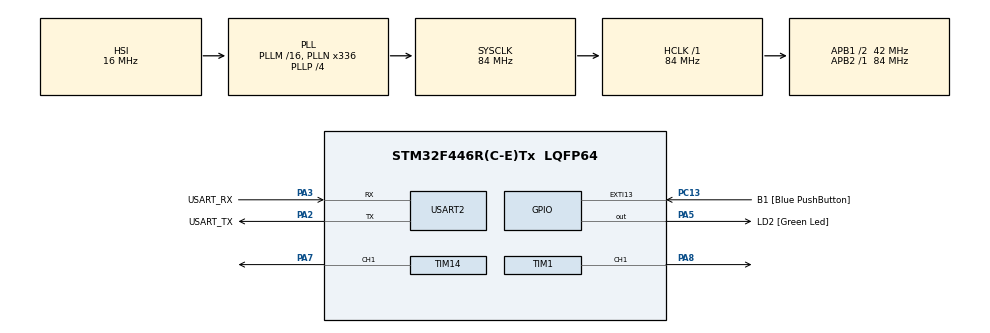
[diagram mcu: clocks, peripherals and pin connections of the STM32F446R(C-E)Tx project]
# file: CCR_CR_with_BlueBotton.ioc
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Mcu.Family=STM32F4
Mcu.Name=STM32F446R(C-E)Tx
Mcu.Package=LQFP64
NVIC.EXTI15_10_IRQn=true\:0\:0\:false\:false\:true\:true\:true\:true
NVIC.PriorityGroup=NVIC_PRIORITYGROUP_0
PA13.GPIO_Label=TMS
PA13.Mode=Serial_Wire
PA13.Signal=SYS_JTMS-SWDIO
PA14.GPIO_Label=TCK
PA14.Mode=Serial_Wire
PA14.Signal=SYS_JTCK-SWCLK
PA2.GPIO_Label=USART_TX
PA2.Mode=Asynchronous
PA2.Signal=USART2_TX
PA3.GPIO_Label=USART_RX
PA3.Mode=Asynchronous
PA3.Signal=USART2_RX
PA5.GPIO_Label=LD2 [Green Led]
PA5.Signal=GPIO_Output
PA7.Signal=S_TIM14_CH1
PA8.Signal=S_TIM1_CH1
PB3.GPIO_Label=SWO
PB3.Signal=SYS_JTDO-SWO
PC13.GPIO_Label=B1 [Blue PushButton]
PC13.GPIO_ModeDefaultEXTI=GPIO_MODE_IT_FALLING
PC13.Signal=GPXTI13
PC14-OSC32_IN.Mode=LSE-External-Oscillator
PC14-OSC32_IN.Signal=RCC_OSC32_IN
PC15-OSC32_OUT.Mode=LSE-External-Oscillator
PC15-OSC32_OUT.Signal=RCC_OSC32_OUT
PH0-OSC_IN.Mode=HSE-External-Oscillator
PH0-OSC_IN.Signal=RCC_OSC_IN
PH1-OSC_OUT.Mode=HSE-External-Oscillator
PH1-OSC_OUT.Signal=RCC_OSC_OUT
ProjectManager.HeapSize=0x200
ProjectManager.StackSize=0x400
ProjectManager.TargetToolchain=STM32CubeIDE
RCC.48MHZClocksFreq_Value=84000000
RCC.AHBFreq_Value=84000000
RCC.APB1CLKDivider=RCC_HCLK_DIV2
RCC.APB1Freq_Value=42000000
RCC.APB1TimFreq_Value=84000000
RCC.APB2Freq_Value=84000000
RCC.APB2TimFreq_Value=84000000
RCC.CortexFreq_Value=84000000
RCC.FLatency-AdvancedSettings=FLASH_LATENCY_2
RCC.HCLKFreq_Value=84000000
RCC.HSE_VALUE=8000000
RCC.HSI_VALUE=16000000
RCC.PLLN=336
RCC.PLLP=RCC_PLLP_DIV4
RCC.SYSCLKFreq_VALUE=84000000
RCC.SYSCLKSource=RCC_SYSCLKSOURCE_PLLCLK
RCC.USBFreq_Value=168000000
RCC.VCOOutputFreq_Value=336000000
SH.S_TIM14_CH1.0=TIM14_CH1,PWM Generation1 CH1
SH.S_TIM1_CH1.0=TIM1_CH1,PWM Generation1 CH1
TIM1.Channel-PWM\ Generation1\ CH1=TIM_CHANNEL_1
TIM1.Period=1000
TIM1.Prescaler=84-1
TIM1.Pulse-PWM\ Generation1\ CH1=200
TIM14.Channel=TIM_CHANNEL_1
TIM14.Period=1000
TIM14.Prescaler=84-1
TIM14.Pulse=200
USART2.VirtualMode=VM_ASYNC
VP_TIM14_VS_ClockSourceINT.Mode=Enable_Timer
VP_TIM1_VS_ClockSourceINT.Mode=Internal
board=NUCLEO-F446RE

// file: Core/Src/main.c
/* USER CODE BEGIN Header */
/**
  ******************************************************************************
  * @file           : main.c
  * @brief          : Main program body
  ******************************************************************************
  * @attention
  *
  * Copyright (c) 2023 STMicroelectronics.
  * All rights reserved.
  *
  * This software is licensed under terms that can be found in the LICENSE file
  * in the root directory of this software component.
  * If no LICENSE file comes with this software, it is provided AS-IS.
  *
  ******************************************************************************
  */
/* USER CODE END Header */
#include "main.h"

/* USER CODE BEGIN Includes */
#include <stdio.h>
/* USER CODE END Includes */

TIM_HandleTypeDef htim1;
TIM_HandleTypeDef htim14;

UART_HandleTypeDef huart2;

void SystemClock_Config(void);
static void MX_GPIO_Init(void);
static void MX_USART2_UART_Init(void);
static void MX_TIM14_Init(void);
static void MX_TIM1_Init(void);
/* USER CODE BEGIN PFP */
#define PUTCHAR_PROTOTYPE int __io_putchar(int ch)
/* USER CODE END PFP */

/* USER CODE BEGIN 0 */
int CCW = 0;
int inv = 0;
/* USER CODE END 0 */

int main(void)
{

  /* MCU Configuration--------------------------------------------------------*/

  /* Reset of all peripherals, Initializes the Flash interface and the Systick. */
  HAL_Init();

  /* Configure the system clock */
  SystemClock_Config();

  /* Initialize all configured peripherals */
  MX_GPIO_Init();
  MX_USART2_UART_Init();
  MX_TIM14_Init();
  MX_TIM1_Init();
  /* USER CODE BEGIN 2 */
  HAL_TIM_PWM_Start(&htim1, TIM_CHANNEL_1);
  HAL_TIM_PWM_Start(&htim14, TIM_CHANNEL_1);
  __HAL_TIM_SET_COMPARE(&htim1,TIM_CHANNEL_1,200);
  __HAL_TIM_SET_COMPARE(&htim14,TIM_CHANNEL_1,0);
  /* USER CODE END 2 */

  /* Infinite loop */
  /* USER CODE BEGIN WHILE */
  while (1)
  {
	  printf("Hello\n\r");
	  if(inv){
		  if(CCW){
			  __HAL_TIM_SET_COMPARE(&htim1,TIM_CHANNEL_1,0);
			  HAL_Delay(10);
			  __HAL_TIM_SET_COMPARE(&htim14,TIM_CHANNEL_1,200);
			  CCW = 0;
		  }else{
				__HAL_TIM_SET_COMPARE(&htim14,TIM_CHANNEL_1,0);
				HAL_Delay(10);
				__HAL_TIM_SET_COMPARE(&htim1,TIM_CHANNEL_1,200);
				CCW = 1;
		  }
		  inv = 0;
	  }

    /* USER CODE END WHILE */

  }
}

void SystemClock_Config(void)
{
  RCC_OscInitTypeDef RCC_OscInitStruct = {0};
  RCC_ClkInitTypeDef RCC_ClkInitStruct = {0};

  /** Configure the main internal regulator output voltage
  */
  __HAL_RCC_PWR_CLK_ENABLE();
  __HAL_PWR_VOLTAGESCALING_CONFIG(PWR_REGULATOR_VOLTAGE_SCALE3);

  /** Initializes the RCC Oscillators according to the specified parameters
  * in the RCC_OscInitTypeDef structure.
  */
  RCC_OscInitStruct.OscillatorType = RCC_OSCILLATORTYPE_HSI;
  RCC_OscInitStruct.HSIState = RCC_HSI_ON;
  RCC_OscInitStruct.HSICalibrationValue = RCC_HSICALIBRATION_DEFAULT;
  RCC_OscInitStruct.PLL.PLLState = RCC_PLL_ON;
  RCC_OscInitStruct.PLL.PLLSource = RCC_PLLSOURCE_HSI;
  RCC_OscInitStruct.PLL.PLLM = 16;
  RCC_OscInitStruct.PLL.PLLN = 336;
  RCC_OscInitStruct.PLL.PLLP = RCC_PLLP_DIV4;
  RCC_OscInitStruct.PLL.PLLQ = 2;
  RCC_OscInitStruct.PLL.PLLR = 2;
  if (HAL_RCC_OscConfig(&RCC_OscInitStruct) != HAL_OK)
  {
    Error_Handler();
  }

  /** Initializes the CPU, AHB and APB buses clocks
  */
  RCC_ClkInitStruct.ClockType = RCC_CLOCKTYPE_HCLK|RCC_CLOCKTYPE_SYSCLK
                              |RCC_CLOCKTYPE_PCLK1|RCC_CLOCKTYPE_PCLK2;
  RCC_ClkInitStruct.SYSCLKSource = RCC_SYSCLKSOURCE_PLLCLK;
  RCC_ClkInitStruct.AHBCLKDivider = RCC_SYSCLK_DIV1;
  RCC_ClkInitStruct.APB1CLKDivider = RCC_HCLK_DIV2;
  RCC_ClkInitStruct.APB2CLKDivider = RCC_HCLK_DIV1;

  if (HAL_RCC_ClockConfig(&RCC_ClkInitStruct, FLASH_LATENCY_2) != HAL_OK)
  {
    Error_Handler();
  }
}

static void MX_TIM1_Init(void)
{

  TIM_ClockConfigTypeDef sClockSourceConfig = {0};
  TIM_MasterConfigTypeDef sMasterConfig = {0};
  TIM_OC_InitTypeDef sConfigOC = {0};
  TIM_BreakDeadTimeConfigTypeDef sBreakDeadTimeConfig = {0};

  htim1.Instance = TIM1;
  htim1.Init.Prescaler = 84-1;
  htim1.Init.CounterMode = TIM_COUNTERMODE_UP;
  htim1.Init.Period = 1000;
  htim1.Init.ClockDivision = TIM_CLOCKDIVISION_DIV1;
  htim1.Init.RepetitionCounter = 0;
  htim1.Init.AutoReloadPreload = TIM_AUTORELOAD_PRELOAD_DISABLE;
  if (HAL_TIM_Base_Init(&htim1) != HAL_OK)
  {
    Error_Handler();
  }
  sClockSourceConfig.ClockSource = TIM_CLOCKSOURCE_INTERNAL;
  if (HAL_TIM_ConfigClockSource(&htim1, &sClockSourceConfig) != HAL_OK)
  {
    Error_Handler();
  }
  if (HAL_TIM_PWM_Init(&htim1) != HAL_OK)
  {
    Error_Handler();
  }
  sMasterConfig.MasterOutputTrigger = TIM_TRGO_RESET;
  sMasterConfig.MasterSlaveMode = TIM_MASTERSLAVEMODE_DISABLE;
  if (HAL_TIMEx_MasterConfigSynchronization(&htim1, &sMasterConfig) != HAL_OK)
  {
    Error_Handler();
  }
  sConfigOC.OCMode = TIM_OCMODE_PWM1;
  sConfigOC.Pulse = 200;
  sConfigOC.OCPolarity = TIM_OCPOLARITY_HIGH;
  sConfigOC.OCNPolarity = TIM_OCNPOLARITY_HIGH;
  sConfigOC.OCFastMode = TIM_OCFAST_DISABLE;
  sConfigOC.OCIdleState = TIM_OCIDLESTATE_RESET;
  sConfigOC.OCNIdleState = TIM_OCNIDLESTATE_RESET;
  if (HAL_TIM_PWM_ConfigChannel(&htim1, &sConfigOC, TIM_CHANNEL_1) != HAL_OK)
  {
    Error_Handler();
  }
  sBreakDeadTimeConfig.OffStateRunMode = TIM_OSSR_DISABLE;
  sBreakDeadTimeConfig.OffStateIDLEMode = TIM_OSSI_DISABLE;
  sBreakDeadTimeConfig.LockLevel = TIM_LOCKLEVEL_OFF;
  sBreakDeadTimeConfig.DeadTime = 0;
  sBreakDeadTimeConfig.BreakState = TIM_BREAK_DISABLE;
  sBreakDeadTimeConfig.BreakPolarity = TIM_BREAKPOLARITY_HIGH;
  sBreakDeadTimeConfig.AutomaticOutput = TIM_AUTOMATICOUTPUT_DISABLE;
  if (HAL_TIMEx_ConfigBreakDeadTime(&htim1, &sBreakDeadTimeConfig) != HAL_OK)
  {
    Error_Handler();
  }
  HAL_TIM_MspPostInit(&htim1);

}

static void MX_TIM14_Init(void)
{

  TIM_OC_InitTypeDef sConfigOC = {0};

  htim14.Instance = TIM14;
  htim14.Init.Prescaler = 84-1;
  htim14.Init.CounterMode = TIM_COUNTERMODE_UP;
  htim14.Init.Period = 1000;
  htim14.Init.ClockDivision = TIM_CLOCKDIVISION_DIV1;
  htim14.Init.AutoReloadPreload = TIM_AUTORELOAD_PRELOAD_DISABLE;
  if (HAL_TIM_Base_Init(&htim14) != HAL_OK)
  {
    Error_Handler();
  }
  if (HAL_TIM_PWM_Init(&htim14) != HAL_OK)
  {
    Error_Handler();
  }
  sConfigOC.OCMode = TIM_OCMODE_PWM1;
  sConfigOC.Pulse = 200;
  sConfigOC.OCPolarity = TIM_OCPOLARITY_HIGH;
  sConfigOC.OCFastMode = TIM_OCFAST_DISABLE;
  if (HAL_TIM_PWM_ConfigChannel(&htim14, &sConfigOC, TIM_CHANNEL_1) != HAL_OK)
  {
    Error_Handler();
  }
  HAL_TIM_MspPostInit(&htim14);

}

static void MX_USART2_UART_Init(void)
{

  huart2.Instance = USART2;
  huart2.Init.BaudRate = 115200;
  huart2.Init.WordLength = UART_WORDLENGTH_8B;
  huart2.Init.StopBits = UART_STOPBITS_1;
  huart2.Init.Parity = UART_PARITY_NONE;
  huart2.Init.Mode = UART_MODE_TX_RX;
  huart2.Init.HwFlowCtl = UART_HWCONTROL_NONE;
  huart2.Init.OverSampling = UART_OVERSAMPLING_16;
  if (HAL_UART_Init(&huart2) != HAL_OK)
  {
    Error_Handler();
  }

}

static void MX_GPIO_Init(void)
{
  GPIO_InitTypeDef GPIO_InitStruct = {0};

  /* GPIO Ports Clock Enable */
  __HAL_RCC_GPIOC_CLK_ENABLE();
  __HAL_RCC_GPIOH_CLK_ENABLE();
  __HAL_RCC_GPIOA_CLK_ENABLE();
  __HAL_RCC_GPIOB_CLK_ENABLE();

  /*Configure GPIO pin Output Level */
  HAL_GPIO_WritePin(LD2_GPIO_Port, LD2_Pin, GPIO_PIN_RESET);

  /*Configure GPIO pin : B1_Pin */
  GPIO_InitStruct.Pin = B1_Pin;
  GPIO_InitStruct.Mode = GPIO_MODE_IT_FALLING;
  GPIO_InitStruct.Pull = GPIO_NOPULL;
  HAL_GPIO_Init(B1_GPIO_Port, &GPIO_InitStruct);

  /*Configure GPIO pin : LD2_Pin */
  GPIO_InitStruct.Pin = LD2_Pin;
  GPIO_InitStruct.Mode = GPIO_MODE_OUTPUT_PP;
  GPIO_InitStruct.Pull = GPIO_NOPULL;
  GPIO_InitStruct.Speed = GPIO_SPEED_FREQ_LOW;
  HAL_GPIO_Init(LD2_GPIO_Port, &GPIO_InitStruct);

  /* EXTI interrupt init*/
  HAL_NVIC_SetPriority(EXTI15_10_IRQn, 0, 0);
  HAL_NVIC_EnableIRQ(EXTI15_10_IRQn);

}

/* USER CODE BEGIN 4 */
/**
  * @brief  Retargets the C library printf function to the USART.
  * @param  None
  * @retval None
  */
PUTCHAR_PROTOTYPE
{
  /* Place your implementation of fputc here */
  /* e.g. write a character to the USART1 and Loop until the end of transmission */
  HAL_UART_Transmit(&huart2, (uint8_t *)&ch, 1, 0xFFFF);

  return ch;
}

void HAL_GPIO_EXTI_Callback(uint16_t GPIO_Pin)
{
  if(GPIO_Pin == GPIO_PIN_13) {
	HAL_GPIO_TogglePin(GPIOA, GPIO_PIN_5);
	printf("Blue button triggered\r\n");
	inv = 1;
  } else {
      __NOP();
  }
}
/* USER CODE END 4 */

void Error_Handler(void)
{
  __disable_irq();
  while (1)
  {
  }
}
